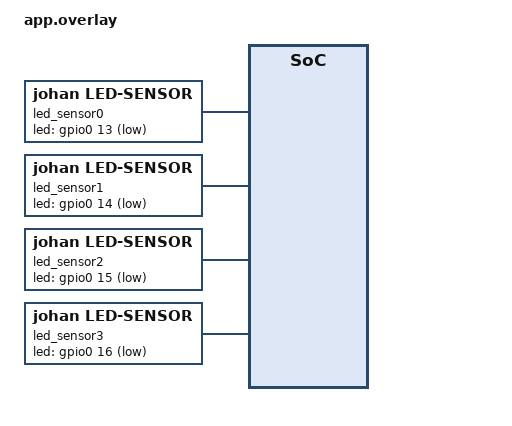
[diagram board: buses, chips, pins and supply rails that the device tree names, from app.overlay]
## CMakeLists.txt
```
cmake_minimum_required(VERSION 3.20.0)

find_package(Zephyr REQUIRED HINTS $ENV{ZEPHYR_BASE})
project(my_zephyr_app)

target_sources(app PRIVATE src/main.cpp src/shell_commands.c)

target_include_directories(app PRIVATE
    ${CMAKE_CURRENT_SOURCE_DIR}/../drivers/led_sensor
)
```

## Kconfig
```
source "Kconfig.zephyr"

menuconfig LED_SUBSYSTEM
    bool "LED Subsystem"
    default y
    help 
        Enables the LED subsystem

if LED_SUBSYSTEM

    config APP_HEARTBEAT_PERIOD_MS
        int "Heartbeat period (ms)"
        default 500
        range 100 2000
        help 
            Sets the period of the heartbeat LED. This is independent of the blink sleep time.

    choice 
        prompt "LED blink sleep time"
        default BLINK_SLEEP_1000

        config BLINK_SLEEP_250
            bool "250 ms"
            
        config BLINK_SLEEP_500
            bool "500 ms"

        config BLINK_SLEEP_1000
            bool "1000 ms"

        config BLINK_SLEEP_2000
            bool "2000 ms"

    endchoice

    config BLINK_SLEEP_TIME_MS
        int 
        default 250 if BLINK_SLEEP_250
        default 500 if BLINK_SLEEP_500
        default 1000 if BLINK_SLEEP_1000
        default 2000 if BLINK_SLEEP_2000

    menuconfig LED_ADVANCED
        bool "Advanced LED settings"
        default y

        if LED_ADVANCED

            config LED_BRIGHTNESS
                int "LED Brightness"
                default 100
                range 0 100

            config LED_FADE_DURATION
                int "LED Fade Duration (ms)"
                default 500
                range 0 5000

        endif #LED_ADVANCED

    menu "Expert Settings"
        visible if LED_ADVANCED

        config LED_DEBUG
            bool "Enable LED debugging"
            default n

        config CUSTOM_BLINK_PATTERN
            bool "Custom blink pattern"
            default n

    endmenu
    
endif #LED_SUBSYSTEM
```

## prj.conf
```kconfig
CONFIG_SENSOR=y
CONFIG_GPIO=y
CONFIG_SERIAL=y
CONFIG_CONSOLE=y
CONFIG_UART_CONSOLE=y
CONFIG_SHELL=y
CONFIG_SHELL_BACKEND_SERIAL=y
```

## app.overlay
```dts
/{
    led_sensor0: led_sensor_0 {
        compatible = "johan,led-sensor";
        led-gpios = <&gpio0 13 GPIO_ACTIVE_LOW>;
        status = "okay";
    };

    led_sensor1: led_sensor_1 {
        compatible = "johan,led-sensor";
        led-gpios = <&gpio0 14 GPIO_ACTIVE_LOW>;
        status = "okay";
    };

    led_sensor2: led_sensor_2 {
        compatible = "johan,led-sensor";
        led-gpios = <&gpio0 15 GPIO_ACTIVE_LOW>;
        status = "okay";
    };

    led_sensor3: led_sensor_3 {
        compatible = "johan,led-sensor";
        led-gpios = <&gpio0 16 GPIO_ACTIVE_LOW>;
        status = "okay";
    };
};
```

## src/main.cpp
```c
#include <zephyr/kernel.h>
#include <zephyr/device.h>
#include <zephyr/drivers/sensor.h>
#include "led_sensor.h"

int main (void)
{
    const struct device *led0 = DEVICE_DT_GET(DT_NODELABEL(led_sensor0));
    const struct device *led1 = DEVICE_DT_GET(DT_NODELABEL(led_sensor1));
    const struct device *led2 = DEVICE_DT_GET(DT_NODELABEL(led_sensor2));
    const struct device *led3 = DEVICE_DT_GET(DT_NODELABEL(led_sensor3));

    struct sensor_value val;

    if (!device_is_ready(led0)
        || !device_is_ready(led1)
        || !device_is_ready(led2)
        || !device_is_ready(led3)) 
    {
        return -1;
    }

    while (1)
    {
        /*sensor_sample_fetch(led0);
        sensor_sample_fetch(led1);
        sensor_sample_fetch(led2);
        sensor_sample_fetch(led3);

        led_sensor_enable(led0, false);
        led_sensor_enable(led1, false);
        led_sensor_enable(led2, false);
        led_sensor_enable(led3, false);

        k_msleep(500);

        sensor_channel_get(led0, SENSOR_CHAN_ALL, &val);
        sensor_channel_get(led1, SENSOR_CHAN_ALL, &val);
        sensor_channel_get(led2, SENSOR_CHAN_ALL, &val);
        sensor_channel_get(led3, SENSOR_CHAN_ALL, &val);

        led_sensor_enable(led0, false);
        led_sensor_enable(led1, false);
        led_sensor_enable(led2, false);
        led_sensor_enable(led3, false);*/

        k_msleep(500);

        
    }

    return 0;
}
```

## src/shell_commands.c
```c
#include <zephyr/kernel.h>
#include <zephyr/device.h>
#include <zephyr/drivers/sensor.h>
#include <zephyr/shell/shell.h>
#include "led_sensor.h"



const struct device *led0 = DEVICE_DT_GET(DT_NODELABEL(led_sensor0));

static int cmd_fetch (const struct shell *sh, size_t argc, char **argv)
{
    if (!device_is_ready(led0)) 
    {
        shell_error(sh, "Device not ready");
        return -ENODEV;
    }

    sensor_sample_fetch(led0);

    shell_print(sh, "Sample fetched");

    return 0;
}

static int cmd_read (const struct shell *sh, size_t argc, char **argv)
{
    struct sensor_value val;

    sensor_channel_get(led0, SENSOR_CHAN_ALL, &val);

    shell_print(sh, "Sensor state: %d", val.val1);

    return 0;
}

static int cmd_info (const struct shell *sh, size_t argc, char **argv)
{
    bool is_ready = device_is_ready(led0);

    shell_print(sh, "Device name: %s", led0->name);

    if (is_ready) {
        shell_print(sh, "Is ready");
    } else {
        shell_print(sh, "Is not ready");
    }

    return 0;
}

static int cmd_set (const struct shell *sh, size_t argc, char **argv)
{
    int value;

    value = atoi(argv[1]);

    if (value != 0 && value != 1) 
    {
        shell_error(sh, "Use 0 or 1");
        return -EINVAL;
    }

    led_sensor_enable(led0, value);

    if (value == 1)
    {
        shell_print(sh, "LED sensor enabled");
    }
    else
    {
        shell_print(sh, "LED sensor disabled");
    }

    return 0;
}

SHELL_STATIC_SUBCMD_SET_CREATE(
    sensor_cmds,

    SHELL_CMD(fetch,
              NULL,
              "Fetch sensor sample",
              cmd_fetch),

    SHELL_CMD(read,
              NULL,
              "Read sensor value",
              cmd_read),

    SHELL_CMD(info,
              NULL,
              "Get sensor info",
              cmd_info),

    SHELL_CMD_ARG(set,
                  NULL,
                  "Enable/disable sensor: sensor set 0 or 1",
                  cmd_set,
                  2,
                  0),          

    SHELL_SUBCMD_SET_END
);

SHELL_CMD_REGISTER(
    sensor,
    &sensor_cmds,
    "LED sensor commands",
    NULL
);
```
